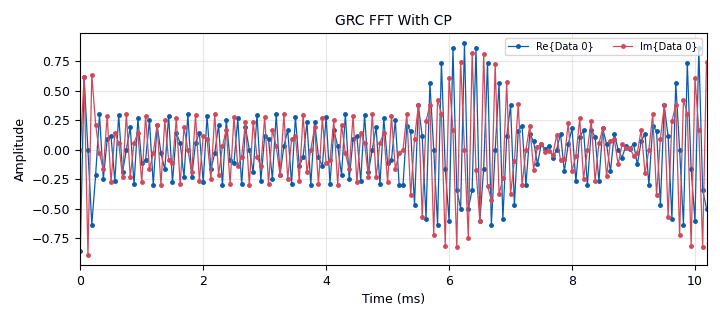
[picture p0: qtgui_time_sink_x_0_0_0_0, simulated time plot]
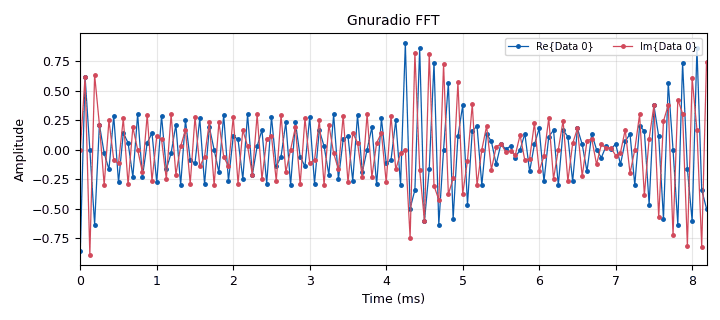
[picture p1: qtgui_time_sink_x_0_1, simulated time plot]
options:
  parameters:
    author: jreitmei
    comment: |-
      This example shows the functionality for the IFFT. 
      It compares the RFNoC FFT to the Gnuradio IFFT.
      The first direct comparison is without the cyclic prefix. 
      The second direct cormparison is with added cyclic prefix.
    generate_options: qt_gui
    generator_class_name: PythonQtGuiGenerator
    generator_module: gnuradio.grc.workflows.python_qt_gui
    id: fft_test
    output_language: python
    title: fft_reverse
  states: {}

blocks:
- name: const_step
  id: variable_qtgui_range
  parameters:
    gui_hint: (3,0,1,4)
    label: const multiplicator step
    orient: QtCore.Qt.Orientation.Horizontal
    start: '0'
    step: '0.01'
    stop: '3'
    value: '.3'
  states: {}
- name: cp_len
  id: variable
  parameters:
    value: int(fft_len/4)
  states: {}
- name: fft_len
  id: variable
  parameters:
    value: '64'
  states: {}
- name: running_vector
  id: variable
  parameters:
    value: (vector)*[0.0] + [0.707*1.0+ 0.707*1.0j] + (fft_len- 1 - vector)*[0.0]
  states: {}
- name: running_vector_0
  id: variable
  parameters:
    value: (vector_0)*[0.0] + [1.0] + [1.0] + [1.0]  + (fft_len - 1 - vector_0)*[0.0]
  states: {}
- name: samp_rate
  id: variable
  parameters:
    value: 16e3
  states: {}
- name: scaling_divider
  id: variable_qtgui_range
  parameters:
    gui_hint: (2,0,1,4)
    label: Power of scaling Divider
    orient: QtCore.Qt.Orientation.Horizontal
    rangeType: int
    start: '0'
    step: '1'
    stop: '6'
    value: '0'
  states: {}
- name: scaling_factor
  id: variable
  parameters:
    comment: |-
      This adjusts the FFT scaling factor. Remember that the scaling 
      factor is defined as (1/2^scaling_divider) for better FPGA
      processing.
    value: 1/(2**scaling_divider)
  states: {}
- name: uhd_rfnoc_graph
  id: uhd_rfnoc_graph
  parameters:
    dev_addr: device_args
    dev_args: f"master_clock_rate={master_clock_rate}"
  states: {}
- name: vector
  id: variable_qtgui_range
  parameters:
    gui_hint: (0,0,1,4)
    label: Slide the factor through the first vector
    orient: QtCore.Qt.Orientation.Horizontal
    rangeType: int
    start: '0'
    step: '1'
    stop: int(fft_len/4)
    value: '1'
  states: {}
- name: vector_0
  id: variable_qtgui_range
  parameters:
    gui_hint: (1,0,1,4)
    label: Slide the factor through the second vector
    orient: QtCore.Qt.Orientation.Horizontal
    rangeType: int
    start: '0'
    step: '1'
    stop: int(fft_len/4)
    value: '3'
  states: {}
- name: blocks_multiply_const_vxx_1_0
  id: blocks_multiply_const_vxx
  parameters:
    comment: |-
      Prevents clipping. 
      Can be adjusted to needs.
    const: const_step
    type: complex
  states: {}
- name: blocks_stream_to_vector_0
  id: blocks_stream_to_vector
  parameters:
    num_items: fft_len
    type: complex
  states: {}
- name: blocks_stream_to_vector_0_0
  id: blocks_stream_to_vector
  parameters:
    num_items: fft_len
    type: complex
  states: {}
- name: blocks_throttle2_0
  id: blocks_throttle2
  parameters:
    samples_per_second: samp_rate
    type: complex
  states: {}
- name: blocks_vector_source_x_0
  id: blocks_vector_source_x
  parameters:
    repeat: 'False'
    tags: ''
    type: complex
    vector: "(0.9, 0.9, 0.9, 0.9, 0.9, 0.9, 0.9, 0.9, 0.9, 0.9, 0.9, 0.9, 0.9, 0.9, 0.9, 0.9, 0.9, 0.9, 0.9, 0.9, 0.9, 0.9, 0.9, 0.9, 0.9, 0.9, 0.9, 0.9, 0.9, 0.9, 0.9, 0.9,\r0.0, 0.0, 0.0, 0.0, 0.0, 0.0, 0.0, 0.0, 0.0, 0.0, 0.0, 0.0, 0.0, 0.0, 0.0, 0.0, 0.0, 0.0, 0.0, 0.0, 0.0, 0.0, 0.0, 0.0, 0.0, 0.0, 0.0, 0.0, 0.0, 0.0, 0.0, 0.0)"
  states: {state: disabled}
- name: blocks_vector_source_x_0_0
  id: blocks_vector_source_x
  parameters:
    repeat: 'False'
    tags: ''
    type: complex
    vector: (running_vector + running_vector_0)*20
  states: {}
- name: blocks_vector_source_x_0_1
  id: blocks_vector_source_x
  parameters:
    repeat: 'True'
    tags: ''
    type: complex
    vector: running_vector
  states: {state: disabled}
- name: blocks_vector_to_stream_0
  id: blocks_vector_to_stream
  parameters:
    num_items: fft_len
    type: complex
  states: {}
- name: device_args
  id: parameter
  parameters:
    short_id: a
    type: str
    value: '"addr=192.168.40.2"'
  states: {}
- name: digital_ofdm_cyclic_prefixer_0
  id: digital_ofdm_cyclic_prefixer
  parameters:
    cp_len: cp_len
    input_size: fft_len
    tagname: ''
  states: {}
- name: fft_vxx_0
  id: fft_vxx
  parameters:
    fft_size: fft_len
    forward: 'False'
    shift: 'False'
    type: complex
    window: '[]'
  states: {}
- name: fft_vxx_0_0
  id: fft_vxx
  parameters:
    fft_size: fft_len
    forward: 'False'
    shift: 'False'
    type: complex
    window: '[]'
  states: {}
- name: master_clock_rate
  id: parameter
  parameters:
    label: Master Clock Rate
    short_id: m
    type: eng_float
    value: 200e6
  states: {}
- name: qtgui_time_sink_x_0
  id: qtgui_time_sink_x
  parameters:
    autoscale: 'True'
    gui_hint: (8, 0, 4, 4)
    marker1: '0'
    marker2: '0'
    name: '"RFNoC FFT no CP"'
    size: 'fft_len * 2 +4 '
    srate: samp_rate
    type: complex
    update_time: '0.01'
  states: {}
- name: qtgui_time_sink_x_0_0_0_0
  id: qtgui_time_sink_x
  parameters:
    autoscale: 'True'
    gui_hint: (12, 0, 4, 4)
    marker1: '0'
    marker2: '0'
    name: '"GRC FFT With CP"'
    size: 2* fft_len + 2* cp_len +4
    srate: samp_rate
    type: complex
    update_time: '0.01'
  states: {}
- name: qtgui_time_sink_x_0_0_1
  id: qtgui_time_sink_x
  parameters:
    autoscale: 'True'
    comment: |-
      Number of Points calculation:
      With cp:
      2*fft_len + 2*cp_len = 160
      Without cp:
      2*fft_len = 128
      In the end there have been added
      4 samples for a better visualization.
    gui_hint: (16, 0, 4, 4)
    marker1: '0'
    marker2: '0'
    name: '"RFNoC FFT With CP"'
    size: 2* fft_len + 2* cp_len +4
    srate: samp_rate
    type: complex
    update_time: '0.01'
  states: {}
- name: qtgui_time_sink_x_0_1
  id: qtgui_time_sink_x
  parameters:
    autoscale: 'True'
    gui_hint: (4, 0, 4, 4)
    marker1: '0'
    marker2: '0'
    name: '"Gnuradio FFT"'
    size: fft_len * 2 +4
    srate: samp_rate
    type: complex
    update_time: '0.01'
  states: {}
- name: uhd_rfnoc_fft_1
  id: uhd_rfnoc_fft
  parameters:
    device_select: '0'
    fft_bypass_mode: 'False'
    fft_cp_insertion_list: '[0]'
    fft_cp_removal_list: '[0]'
    fft_direction: REVERSE
    fft_length: fft_len
    fft_magnitude: COMPLEX
    fft_scaling_factor: scaling_factor
    fft_shift_config: NATURAL
    instance_index: '2'
    scaling_version: Scaling Factor
  states: {}
- name: uhd_rfnoc_fft_1_0
  id: uhd_rfnoc_fft
  parameters:
    device_select: '0'
    fft_bypass_mode: 'False'
    fft_cp_insertion_list: '[cp_len]'
    fft_cp_removal_list: '[0]'
    fft_direction: REVERSE
    fft_length: fft_len
    fft_magnitude: COMPLEX
    fft_scaling_factor: scaling_factor
    fft_shift_config: NATURAL
    instance_index: '3'
    scaling_version: Scaling Factor
  states: {}
- name: uhd_rfnoc_rx_streamer_0
  id: uhd_rfnoc_rx_streamer
  parameters:
    issue_stream_cmd: 'True'
    otw: sc16
    output_type: fc32
  states: {}
- name: uhd_rfnoc_rx_streamer_0_0
  id: uhd_rfnoc_rx_streamer
  parameters:
    issue_stream_cmd: 'True'
    otw: sc16
    output_type: fc32
  states: {}
- name: uhd_rfnoc_tx_streamer_0
  id: uhd_rfnoc_tx_streamer
  parameters:
    input_type: fc32
    otw: sc16
  states: {}
- name: uhd_rfnoc_tx_streamer_0_0
  id: uhd_rfnoc_tx_streamer
  parameters:
    input_type: fc32
    otw: sc16
  states: {}

connections:
- [blocks_multiply_const_vxx_1_0, '0', blocks_stream_to_vector_0, '0']
- [blocks_multiply_const_vxx_1_0, '0', blocks_stream_to_vector_0_0, '0']
- [blocks_multiply_const_vxx_1_0, '0', uhd_rfnoc_tx_streamer_0, '0']
- [blocks_multiply_const_vxx_1_0, '0', uhd_rfnoc_tx_streamer_0_0, '0']
- [blocks_stream_to_vector_0, '0', fft_vxx_0, '0']
- [blocks_stream_to_vector_0_0, '0', fft_vxx_0_0, '0']
- [blocks_throttle2_0, '0', blocks_multiply_const_vxx_1_0, '0']
- [blocks_vector_source_x_0, '0', blocks_throttle2_0, '0']
- [blocks_vector_source_x_0_0, '0', blocks_throttle2_0, '0']
- [blocks_vector_source_x_0_1, '0', blocks_throttle2_0, '0']
- [blocks_vector_to_stream_0, '0', qtgui_time_sink_x_0_1, '0']
- [digital_ofdm_cyclic_prefixer_0, '0', qtgui_time_sink_x_0_0_0_0, '0']
- [fft_vxx_0, '0', blocks_vector_to_stream_0, '0']
- [fft_vxx_0_0, '0', digital_ofdm_cyclic_prefixer_0, '0']
- {params: {is_back_edge: 'False'}, snk_blk_id: uhd_rfnoc_rx_streamer_0, snk_port_id: '0', src_blk_id: uhd_rfnoc_fft_1, src_port_id: '0'}
- {params: {is_back_edge: 'False'}, snk_blk_id: uhd_rfnoc_rx_streamer_0_0, snk_port_id: '0', src_blk_id: uhd_rfnoc_fft_1_0, src_port_id: '0'}
- [uhd_rfnoc_rx_streamer_0, '0', qtgui_time_sink_x_0, '0']
- [uhd_rfnoc_rx_streamer_0_0, '0', qtgui_time_sink_x_0_0_1, '0']
- {params: {is_back_edge: 'False'}, snk_blk_id: uhd_rfnoc_fft_1, snk_port_id: '0', src_blk_id: uhd_rfnoc_tx_streamer_0, src_port_id: '0'}
- {params: {is_back_edge: 'False'}, snk_blk_id: uhd_rfnoc_fft_1_0, snk_port_id: '0', src_blk_id: uhd_rfnoc_tx_streamer_0_0, src_port_id: '0'}

metadata:
  file_format: 2
  grc_version: v3.11.0.0git-952-g315d2021
